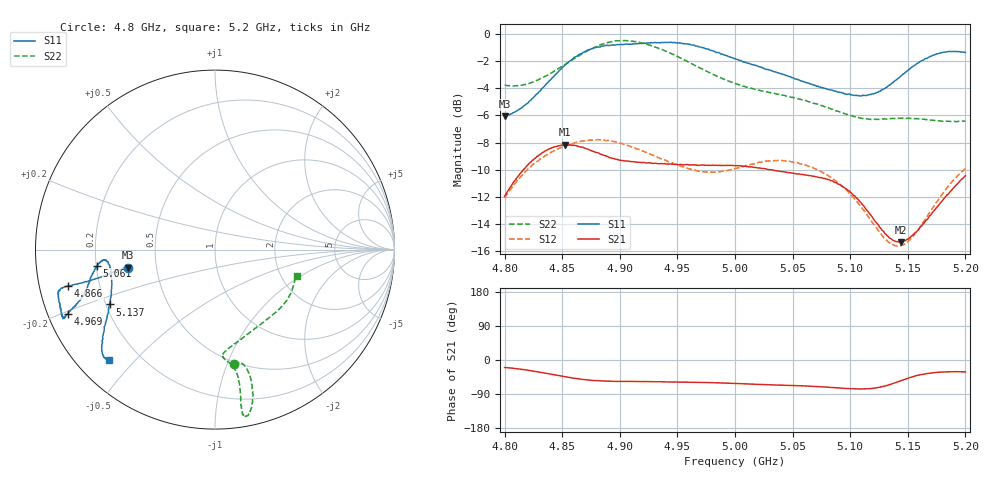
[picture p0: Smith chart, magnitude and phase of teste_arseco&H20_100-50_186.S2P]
! Network Analyzer HP8722D
! Hewlett-Packard
! Data name: Linha & Wilkinson
! Saver's name: Rodrigo Anjos
! Comments: Teste da utilização de aquisição
! continua pelo VNA HP8722D
! Time and date: 6/5/2025 14:07
!  Frequency  S11  S21  S12  S22
# HZ  S  MA R 50
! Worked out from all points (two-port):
!   401 points, 4.8 GHz to 5.2 GHz, reference 50 ohm
!   highest |S21| = -8.16 dB at 4.852 GHz (marker M1); lowest = -15.3 dB at 5.144 GHz (marker M2)
!   |S21| within 3 dB of the highest: 4.806 GHz to 5.092 GHz (286.3 MHz wide, 5.78 % of centre); 5.191559 GHz to end of sweep
!   lowest |S11| = -6.1 dB at 4.8 GHz (marker M3), VSWR 2.98, Z = 16.9 - j4.55 ohm
!   |S11| at or under -10 dB: nowhere
!   |S22| runs from -6.5 to -0.5 dB; largest |S21 - S12| = 0.62
!   S11 on the Smith chart (normalised r, x): 4.8 GHz: 0.34, -0.09; 4.866 GHz: 0.09, -0.12; 4.969 GHz: 0.06, -0.21; 5.061 GHz: 0.20, -0.07; 5.137 GHz: 0.22, -0.23; 5.2 GHz: 0.09, -0.42
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4.8e9  0.4973 -168.3  0.2527 -19.8  0.2492 -141.1  0.6483 -80.5
4.823e9  0.5717 -167.6  0.3384 -28.3  0.3251 -144.0  0.6606 -75.9
4.852e9  0.7643 -165.9  0.3909 -43.9  0.3868 -149.6  0.7692 -74.6
4.866e9  0.8434 -166.2  0.3831 -50.6  0.4023 -152.0  0.8371 -75.3
4.867e9  0.8474 -166.0  0.3829 -51.0  0.4026 -152.2  0.8434 -75.5
4.879e9  0.8896 -165.6  0.3661 -54.4  0.4072 -154.2  0.8948 -76.8
4.899e9  0.9122 -163.0  0.3439 -56.6  0.3977 -156.8  0.9428 -79.1
4.916e9  0.9216 -159.5  0.3371 -56.9  0.3763 -157.2  0.9306 -80.4
4.934e9  0.9279 -156.6  0.3328 -57.5  0.3502 -155.7  0.8823 -80.5
4.969e9  0.8951 -156.5  0.3284 -59.1  0.3124 -147.4  0.7511 -79.7
5e9  0.8099 -159.3  0.3272 -61.8  0.3195 -137.3  0.6565 -81.4
5.035e9  0.7248 -165.4  0.3141 -65.8  0.3419 -134.5  0.6026 -85.5
5.061e9  0.6637 -172.2  0.3028 -68.5  0.3294 -136.5  0.5682 -84.0
5.067e9  0.6514 -173.1  0.2998 -69.2  0.3228 -136.9  0.5577 -82.7
5.087e9  0.6158 -174.5  0.284 -73.3  0.2886 -138.6  0.5231 -74.8
5.103e9  0.5944 -171.5  0.2547 -76.0  0.2494 -138.8  0.497 -65.2
5.116e9  0.5966 -165.6  0.2204 -75.9  0.2121 -135.5  0.4855 -55.8
5.134e9  0.6471 -154.3  0.1778 -65.2  0.1705 -120.6  0.4875 -43.3
5.137e9  0.6608 -152.5  0.1742 -62.2  0.1678 -116.7  0.4886 -41.4
5.144e9  0.6996 -148.9  0.1714 -54.5  0.1662 -107.5  0.4889 -37.4
5.173e9  0.8364 -139.0  0.224 -33.4  0.2338 -80.9  0.4805 -24.3
5.2e9  0.8534 -133.8  0.3009 -31.5  0.3192 -77.0  0.4779 -17.6
